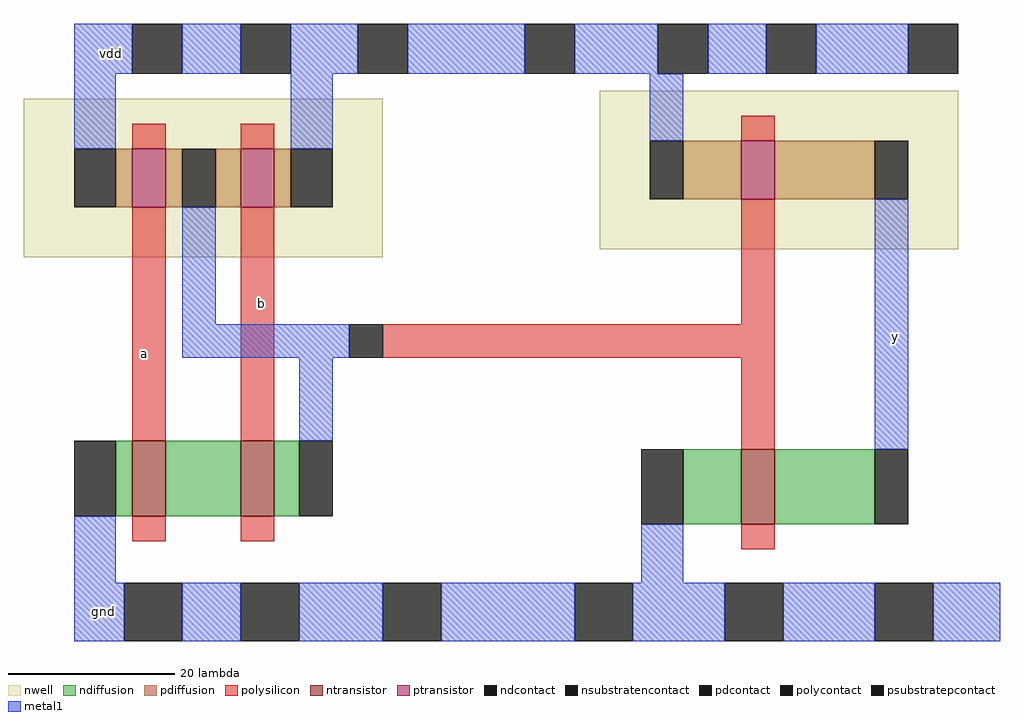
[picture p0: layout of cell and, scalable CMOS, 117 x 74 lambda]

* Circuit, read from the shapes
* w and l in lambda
.subckt and a b gnd vdd y
M1 n1 a gnd gnd nfet w=9 l=4
M2 n2 b n1 gnd nfet w=9 l=4
M3 y n2 gnd gnd nfet w=9 l=4
M4 n2 a vdd n3 pfet w=7 l=4
M5 vdd b n2 n3 pfet w=7 l=4
M6 y n2 vdd n4 pfet w=7 l=4
.ends

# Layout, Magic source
magic
tech scmos
<< nwell >>
rect -43 8 0 27
rect 26 9 69 28
<< ntransistor >>
rect -30 -23 -26 -14
rect -17 -23 -13 -14
rect 43 -24 47 -15
<< ptransistor >>
rect -30 14 -26 21
rect -17 14 -13 21
rect 43 15 47 22
<< ndiffusion >>
rect -32 -23 -30 -14
rect -26 -23 -17 -14
rect -13 -23 -10 -14
rect 36 -24 43 -15
rect 47 -24 59 -15
<< pdiffusion >>
rect -32 14 -30 21
rect -26 14 -24 21
rect -20 14 -17 21
rect -13 14 -11 21
rect 36 15 43 22
rect 47 15 59 22
<< ndcontact >>
rect -37 -23 -32 -14
rect -10 -23 -6 -14
rect 31 -24 36 -15
rect 59 -24 63 -15
<< pdcontact >>
rect -37 14 -32 21
rect -24 14 -20 21
rect -11 14 -6 21
rect 32 15 36 22
rect 59 15 63 22
<< psubstratepcontact >>
rect -31 -38 -24 -31
rect -17 -38 -10 -31
rect 0 -38 7 -31
rect 23 -38 30 -31
rect 41 -38 48 -31
rect 59 -38 66 -31
<< nsubstratencontact >>
rect -30 30 -24 36
rect -17 30 -11 36
rect -3 30 3 36
rect 17 30 23 36
rect 33 30 39 36
rect 46 30 52 36
rect 63 30 69 36
<< polysilicon >>
rect -30 21 -26 24
rect -17 21 -13 24
rect 43 22 47 25
rect -30 -14 -26 14
rect -17 -14 -13 14
rect 43 0 47 15
rect 0 -4 47 0
rect 43 -15 47 -4
rect -30 -26 -26 -23
rect -17 -26 -13 -23
rect 43 -27 47 -24
<< polycontact >>
rect -4 -4 0 0
<< metal1 >>
rect -37 30 -30 36
rect -24 30 -17 36
rect -11 30 -3 36
rect 3 30 17 36
rect 23 30 33 36
rect 39 30 46 36
rect 52 30 63 36
rect -37 21 -32 30
rect -11 21 -6 30
rect 32 22 36 30
rect -24 0 -20 14
rect -24 -4 -4 0
rect -10 -14 -6 -4
rect 59 -15 63 15
rect -37 -31 -32 -23
rect 31 -31 36 -24
rect -37 -38 -31 -31
rect -24 -38 -17 -31
rect -10 -38 0 -31
rect 7 -38 23 -31
rect 30 -38 41 -31
rect 48 -38 59 -31
rect 66 -38 74 -31
<< labels >>
rlabel metal1 -33 32 -32 33 5 vdd
rlabel metal1 -34 -35 -33 -34 1 gnd
rlabel polysilicon -29 -4 -28 -3 1 a
rlabel polysilicon -15 2 -14 3 1 b
rlabel metal1 61 -2 62 -1 1 y
<< end >>
